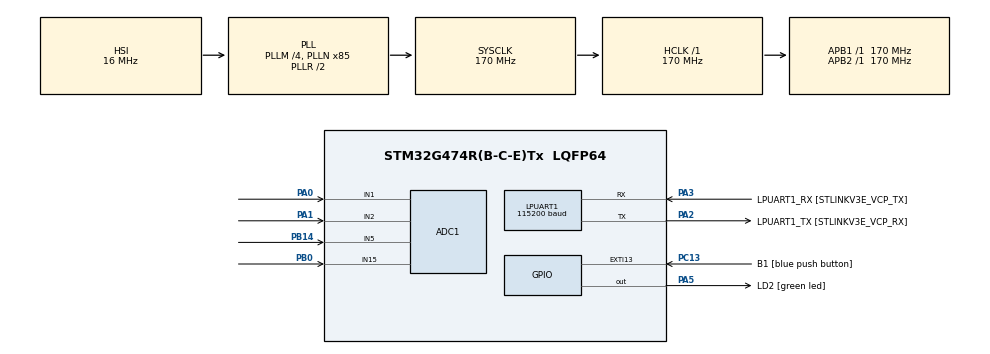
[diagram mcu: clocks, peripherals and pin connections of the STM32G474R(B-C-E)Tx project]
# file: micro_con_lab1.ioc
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ADC1.Channel-0\#ChannelRegularConversion=ADC_CHANNEL_1
ADC1.Channel-1\#ChannelRegularConversion=ADC_CHANNEL_2
ADC1.Channel-2\#ChannelRegularConversion=ADC_CHANNEL_15
ADC1.Channel-3\#ChannelRegularConversion=ADC_CHANNEL_5
ADC1.ContinuousConvMode=ENABLE
ADC1.DMAContinuousRequests=ENABLE
ADC1.NbrOfConversion=4
ADC1.NbrOfConversionFlag=1
ADC1.OffsetNumber-0\#ChannelRegularConversion=ADC_OFFSET_NONE
ADC1.OffsetNumber-1\#ChannelRegularConversion=ADC_OFFSET_NONE
ADC1.OffsetNumber-2\#ChannelRegularConversion=ADC_OFFSET_NONE
ADC1.OffsetNumber-3\#ChannelRegularConversion=ADC_OFFSET_NONE
ADC1.Rank-0\#ChannelRegularConversion=1
ADC1.Rank-1\#ChannelRegularConversion=2
ADC1.Rank-2\#ChannelRegularConversion=3
ADC1.Rank-3\#ChannelRegularConversion=4
ADC1.SamplingTime-0\#ChannelRegularConversion=ADC_SAMPLETIME_640CYCLES_5
ADC1.SamplingTime-1\#ChannelRegularConversion=ADC_SAMPLETIME_640CYCLES_5
ADC1.SamplingTime-2\#ChannelRegularConversion=ADC_SAMPLETIME_640CYCLES_5
ADC1.SamplingTime-3\#ChannelRegularConversion=ADC_SAMPLETIME_640CYCLES_5
ADC1.master=1
Dma.ADC1.0.Direction=DMA_PERIPH_TO_MEMORY
Dma.ADC1.0.EventEnable=DISABLE
Dma.ADC1.0.Instance=DMA1_Channel1
Dma.ADC1.0.MemDataAlignment=DMA_MDATAALIGN_HALFWORD
Dma.ADC1.0.MemInc=DMA_MINC_ENABLE
Dma.ADC1.0.Mode=DMA_CIRCULAR
Dma.ADC1.0.PeriphDataAlignment=DMA_PDATAALIGN_HALFWORD
Dma.ADC1.0.PeriphInc=DMA_PINC_DISABLE
Dma.ADC1.0.Polarity=HAL_DMAMUX_REQ_GEN_RISING
Dma.ADC1.0.Priority=DMA_PRIORITY_LOW
Dma.ADC1.0.RequestNumber=1
Dma.ADC1.0.SignalID=NONE
Dma.ADC1.0.SyncEnable=DISABLE
Dma.ADC1.0.SyncPolarity=HAL_DMAMUX_SYNC_NO_EVENT
Dma.ADC1.0.SyncRequestNumber=1
Dma.ADC1.0.SyncSignalID=NONE
Dma.Request0=ADC1
LPUART1.BaudRate=115200
LPUART1.WordLength=UART_WORDLENGTH_8B
Mcu.Family=STM32G4
Mcu.Name=STM32G474R(B-C-E)Tx
Mcu.Package=LQFP64
NVIC.ADC1_2_IRQn=true\:0\:0\:false\:false\:true\:true\:true\:true
NVIC.DMA1_Channel1_IRQn=true\:0\:0\:false\:false\:true\:false\:true\:true
NVIC.EXTI15_10_IRQn=true\:0\:0\:false\:false\:true\:true\:true\:true
NVIC.PriorityGroup=NVIC_PRIORITYGROUP_4
NVIC.TIM3_IRQn=true\:0\:0\:false\:false\:true\:true\:true\:true
PA0.Mode=IN1-Single-Ended
PA0.Signal=ADC1_IN1
PA1.Mode=IN2-Single-Ended
PA1.Signal=ADC1_IN2
PA13.GPIO_Label=T_SWDIO
PA13.Mode=Serial_Wire
PA13.Signal=SYS_JTMS-SWDIO
PA14.GPIO_Label=T_SWCLK
PA14.Mode=Serial_Wire
PA14.Signal=SYS_JTCK-SWCLK
PA2.GPIO_Label=LPUART1_TX [STLINKV3E_VCP_RX]
PA2.Mode=Asynchronous
PA2.Signal=LPUART1_TX
PA3.GPIO_Label=LPUART1_RX [STLINKV3E_VCP_TX]
PA3.Mode=Asynchronous
PA3.Signal=LPUART1_RX
PA5.GPIO_Label=LD2 [green led]
PA5.Signal=GPIO_Output
PB0.Mode=IN15-Single-Ended
PB0.Signal=ADC1_IN15
PB14.Mode=IN5-Single-Ended
PB14.Signal=ADC1_IN5
PB3.GPIO_Label=T_SWO
PB3.Signal=SYS_JTDO-SWO
PB4.Signal=S_TIM3_CH1
PC13.GPIO_Label=B1 [blue push button]
PC13.Signal=GPXTI13
PC14-OSC32_IN.Mode=LSE-External-Oscillator
PC14-OSC32_IN.Signal=RCC_OSC32_IN
PC15-OSC32_OUT.Mode=LSE-External-Oscillator
PC15-OSC32_OUT.Signal=RCC_OSC32_OUT
PF0-OSC_IN.Mode=HSE-External-Oscillator
PF0-OSC_IN.Signal=RCC_OSC_IN
PF1-OSC_OUT.Mode=HSE-External-Oscillator
PF1-OSC_OUT.Signal=RCC_OSC_OUT
ProjectManager.HeapSize=0x200
ProjectManager.StackSize=0x400
ProjectManager.TargetToolchain=STM32CubeIDE
RCC.ADC12Freq_Value=170000000
RCC.ADC345Freq_Value=170000000
RCC.AHBFreq_Value=170000000
RCC.APB1Freq_Value=170000000
RCC.APB1TimFreq_Value=170000000
RCC.APB2Freq_Value=170000000
RCC.APB2TimFreq_Value=170000000
RCC.CortexFreq_Value=170000000
RCC.EXTERNAL_CLOCK_VALUE=12288000
RCC.HCLKFreq_Value=170000000
RCC.HSE_VALUE=24000000
RCC.HSI48_VALUE=48000000
RCC.HSI_VALUE=16000000
RCC.PLLM=RCC_PLLM_DIV4
RCC.PLLN=85
RCC.RTCClockSelection=RCC_RTCCLKSOURCE_LSE
RCC.SYSCLKFreq_VALUE=170000000
RCC.SYSCLKSource=RCC_SYSCLKSOURCE_PLLCLK
RCC.USBFreq_Value=170000000
RCC.VCOOutputFreq_Value=340000000
SH.S_TIM3_CH1.0=TIM3_CH1
TIM3.Channel-PWM\ Generation1\ No\ Output=TIM_CHANNEL_1
TIM3.PeriodNoDither=19999
TIM3.Prescaler=169
TIM3.PulseNoDither_1=2000
VP_SYS_VS_DBSignals.Mode=DisableDeadBatterySignals
VP_TIM3_VS_ClockSourceINT.Mode=Internal
VP_TIM3_VS_no_output1.Mode=PWM Generation1 No Output
board=NUCLEO-G474RE

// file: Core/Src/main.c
/* USER CODE BEGIN Header */
/**
  ******************************************************************************
  * @file           : main.c
  * @brief          : Main program body
  ******************************************************************************
  * @attention
  *
  * Copyright (c) 2024 STMicroelectronics.
  * All rights reserved.
  *
  * This software is licensed under terms that can be found in the LICENSE file
  * in the root directory of this software component.
  * If no LICENSE file comes with this software, it is provided AS-IS.
  *
  ******************************************************************************
  */
/* USER CODE END Header */
#include "main.h"

ADC_HandleTypeDef hadc1;
DMA_HandleTypeDef hdma_adc1;

UART_HandleTypeDef hlpuart1;

TIM_HandleTypeDef htim3;

/* USER CODE BEGIN PV */
int x = 0;
uint16_t ADC_RawRead[40]={0};
uint8_t state = 0;
uint16_t servoPulse = 0;
float pimpod1Percentage;

/* USER CODE END PV */

void SystemClock_Config(void);
static void MX_GPIO_Init(void);
static void MX_DMA_Init(void);
static void MX_LPUART1_UART_Init(void);
static void MX_ADC1_Init(void);
static void MX_TIM3_Init(void);
/* USER CODE BEGIN PFP */
void ADC_Read_blocking();
/* USER CODE END PFP */

int main(void)
{

  /* MCU Configuration--------------------------------------------------------*/

  /* Reset of all peripherals, Initializes the Flash interface and the Systick. */
  HAL_Init();

  /* Configure the system clock */
  SystemClock_Config();

  /* Initialize all configured peripherals */
  MX_GPIO_Init();
  MX_DMA_Init();
  MX_LPUART1_UART_Init();
  MX_ADC1_Init();
  MX_TIM3_Init();
  /* USER CODE BEGIN 2 */
  HAL_TIM_Base_Start(&htim3);
  HAL_TIM_PWM_Start(&htim3, TIM_CHANNEL_1);

  HAL_ADCEx_Calibration_Start(&hadc1, ADC_SINGLE_ENDED);
  HAL_ADC_Start_DMA(&hadc1, ADC_RawRead, 40);
  /* USER CODE END 2 */

  /* Infinite loop */
  while (1)
  {

    /* USER CODE BEGIN 3 */

	  // state management with pimpod 1
	  pimpod1Percentage = (float) ADC_RawRead[0] / 4095 * 100;
	  uint16_t pimpod2 = ADC_RawRead[1];
	  uint16_t pimpod3 = ADC_RawRead[2];

	  if (pimpod1Percentage > 75) {
		  state = (int) 4;
	  } else if (pimpod1Percentage > 50) {
		  state = (int) 3;
	  } else if (pimpod1Percentage > 25) {
		  state = (int) 2;
	  } else {
		  state = (int) 1;
	  }

//	  switch (state) {
//	  case 1: servoPulse = 500;
//	  case 2: servoPulse = pimpod2 / 4095 * 2000 + 500;
//	  case 3: servoPulse = pimpod3 / 4095 * 2000 + 500;
//	  case 4: servoPulse = 2500;
//	  }
	  if (state == 1) {
		  servoPulse = 500;
	  } else if (state == 2) {
		  servoPulse = (float) pimpod2 / 4095 * 2000 + 500;
	  } else if (state == 3) {
		  servoPulse = (float) pimpod3 / 4095 * 2000 + 500;
	  } else if (state == 4) {
		  servoPulse = 2500;
	  }

	  __HAL_TIM_SET_COMPARE(&htim3, TIM_CHANNEL_1, servoPulse);

  }
  /* USER CODE END 3 */
}

void SystemClock_Config(void)
{
  RCC_OscInitTypeDef RCC_OscInitStruct = {0};
  RCC_ClkInitTypeDef RCC_ClkInitStruct = {0};

  /** Configure the main internal regulator output voltage
  */
  HAL_PWREx_ControlVoltageScaling(PWR_REGULATOR_VOLTAGE_SCALE1_BOOST);

  /** Initializes the RCC Oscillators according to the specified parameters
  * in the RCC_OscInitTypeDef structure.
  */
  RCC_OscInitStruct.OscillatorType = RCC_OSCILLATORTYPE_HSI;
  RCC_OscInitStruct.HSIState = RCC_HSI_ON;
  RCC_OscInitStruct.HSICalibrationValue = RCC_HSICALIBRATION_DEFAULT;
  RCC_OscInitStruct.PLL.PLLState = RCC_PLL_ON;
  RCC_OscInitStruct.PLL.PLLSource = RCC_PLLSOURCE_HSI;
  RCC_OscInitStruct.PLL.PLLM = RCC_PLLM_DIV4;
  RCC_OscInitStruct.PLL.PLLN = 85;
  RCC_OscInitStruct.PLL.PLLP = RCC_PLLP_DIV2;
  RCC_OscInitStruct.PLL.PLLQ = RCC_PLLQ_DIV2;
  RCC_OscInitStruct.PLL.PLLR = RCC_PLLR_DIV2;
  if (HAL_RCC_OscConfig(&RCC_OscInitStruct) != HAL_OK)
  {
    Error_Handler();
  }

  /** Initializes the CPU, AHB and APB buses clocks
  */
  RCC_ClkInitStruct.ClockType = RCC_CLOCKTYPE_HCLK|RCC_CLOCKTYPE_SYSCLK
                              |RCC_CLOCKTYPE_PCLK1|RCC_CLOCKTYPE_PCLK2;
  RCC_ClkInitStruct.SYSCLKSource = RCC_SYSCLKSOURCE_PLLCLK;
  RCC_ClkInitStruct.AHBCLKDivider = RCC_SYSCLK_DIV1;
  RCC_ClkInitStruct.APB1CLKDivider = RCC_HCLK_DIV1;
  RCC_ClkInitStruct.APB2CLKDivider = RCC_HCLK_DIV1;

  if (HAL_RCC_ClockConfig(&RCC_ClkInitStruct, FLASH_LATENCY_4) != HAL_OK)
  {
    Error_Handler();
  }
}

static void MX_ADC1_Init(void)
{

  ADC_MultiModeTypeDef multimode = {0};
  ADC_ChannelConfTypeDef sConfig = {0};

  /** Common config
  */
  hadc1.Instance = ADC1;
  hadc1.Init.ClockPrescaler = ADC_CLOCK_SYNC_PCLK_DIV4;
  hadc1.Init.Resolution = ADC_RESOLUTION_12B;
  hadc1.Init.DataAlign = ADC_DATAALIGN_RIGHT;
  hadc1.Init.GainCompensation = 0;
  hadc1.Init.ScanConvMode = ADC_SCAN_ENABLE;
  hadc1.Init.EOCSelection = ADC_EOC_SINGLE_CONV;
  hadc1.Init.LowPowerAutoWait = DISABLE;
  hadc1.Init.ContinuousConvMode = ENABLE;
  hadc1.Init.NbrOfConversion = 4;
  hadc1.Init.DiscontinuousConvMode = DISABLE;
  hadc1.Init.ExternalTrigConv = ADC_SOFTWARE_START;
  hadc1.Init.ExternalTrigConvEdge = ADC_EXTERNALTRIGCONVEDGE_NONE;
  hadc1.Init.DMAContinuousRequests = ENABLE;
  hadc1.Init.Overrun = ADC_OVR_DATA_PRESERVED;
  hadc1.Init.OversamplingMode = DISABLE;
  if (HAL_ADC_Init(&hadc1) != HAL_OK)
  {
    Error_Handler();
  }

  /** Configure the ADC multi-mode
  */
  multimode.Mode = ADC_MODE_INDEPENDENT;
  if (HAL_ADCEx_MultiModeConfigChannel(&hadc1, &multimode) != HAL_OK)
  {
    Error_Handler();
  }

  /** Configure Regular Channel
  */
  sConfig.Channel = ADC_CHANNEL_1;
  sConfig.Rank = ADC_REGULAR_RANK_1;
  sConfig.SamplingTime = ADC_SAMPLETIME_640CYCLES_5;
  sConfig.SingleDiff = ADC_SINGLE_ENDED;
  sConfig.OffsetNumber = ADC_OFFSET_NONE;
  sConfig.Offset = 0;
  if (HAL_ADC_ConfigChannel(&hadc1, &sConfig) != HAL_OK)
  {
    Error_Handler();
  }

  /** Configure Regular Channel
  */
  sConfig.Channel = ADC_CHANNEL_2;
  sConfig.Rank = ADC_REGULAR_RANK_2;
  if (HAL_ADC_ConfigChannel(&hadc1, &sConfig) != HAL_OK)
  {
    Error_Handler();
  }

  /** Configure Regular Channel
  */
  sConfig.Channel = ADC_CHANNEL_15;
  sConfig.Rank = ADC_REGULAR_RANK_3;
  if (HAL_ADC_ConfigChannel(&hadc1, &sConfig) != HAL_OK)
  {
    Error_Handler();
  }

  /** Configure Regular Channel
  */
  sConfig.Channel = ADC_CHANNEL_5;
  sConfig.Rank = ADC_REGULAR_RANK_4;
  if (HAL_ADC_ConfigChannel(&hadc1, &sConfig) != HAL_OK)
  {
    Error_Handler();
  }

}

static void MX_LPUART1_UART_Init(void)
{

  hlpuart1.Instance = LPUART1;
  hlpuart1.Init.BaudRate = 115200;
  hlpuart1.Init.WordLength = UART_WORDLENGTH_8B;
  hlpuart1.Init.StopBits = UART_STOPBITS_1;
  hlpuart1.Init.Parity = UART_PARITY_NONE;
  hlpuart1.Init.Mode = UART_MODE_TX_RX;
  hlpuart1.Init.HwFlowCtl = UART_HWCONTROL_NONE;
  hlpuart1.Init.OneBitSampling = UART_ONE_BIT_SAMPLE_DISABLE;
  hlpuart1.Init.ClockPrescaler = UART_PRESCALER_DIV1;
  hlpuart1.AdvancedInit.AdvFeatureInit = UART_ADVFEATURE_NO_INIT;
  if (HAL_UART_Init(&hlpuart1) != HAL_OK)
  {
    Error_Handler();
  }
  if (HAL_UARTEx_SetTxFifoThreshold(&hlpuart1, UART_TXFIFO_THRESHOLD_1_8) != HAL_OK)
  {
    Error_Handler();
  }
  if (HAL_UARTEx_SetRxFifoThreshold(&hlpuart1, UART_RXFIFO_THRESHOLD_1_8) != HAL_OK)
  {
    Error_Handler();
  }
  if (HAL_UARTEx_DisableFifoMode(&hlpuart1) != HAL_OK)
  {
    Error_Handler();
  }

}

static void MX_TIM3_Init(void)
{

  TIM_ClockConfigTypeDef sClockSourceConfig = {0};
  TIM_MasterConfigTypeDef sMasterConfig = {0};
  TIM_OC_InitTypeDef sConfigOC = {0};

  htim3.Instance = TIM3;
  htim3.Init.Prescaler = 169;
  htim3.Init.CounterMode = TIM_COUNTERMODE_UP;
  htim3.Init.Period = 19999;
  htim3.Init.ClockDivision = TIM_CLOCKDIVISION_DIV1;
  htim3.Init.AutoReloadPreload = TIM_AUTORELOAD_PRELOAD_DISABLE;
  if (HAL_TIM_Base_Init(&htim3) != HAL_OK)
  {
    Error_Handler();
  }
  sClockSourceConfig.ClockSource = TIM_CLOCKSOURCE_INTERNAL;
  if (HAL_TIM_ConfigClockSource(&htim3, &sClockSourceConfig) != HAL_OK)
  {
    Error_Handler();
  }
  if (HAL_TIM_PWM_Init(&htim3) != HAL_OK)
  {
    Error_Handler();
  }
  sMasterConfig.MasterOutputTrigger = TIM_TRGO_RESET;
  sMasterConfig.MasterSlaveMode = TIM_MASTERSLAVEMODE_DISABLE;
  if (HAL_TIMEx_MasterConfigSynchronization(&htim3, &sMasterConfig) != HAL_OK)
  {
    Error_Handler();
  }
  sConfigOC.OCMode = TIM_OCMODE_PWM1;
  sConfigOC.Pulse = 2000;
  sConfigOC.OCPolarity = TIM_OCPOLARITY_HIGH;
  sConfigOC.OCFastMode = TIM_OCFAST_DISABLE;
  if (HAL_TIM_PWM_ConfigChannel(&htim3, &sConfigOC, TIM_CHANNEL_1) != HAL_OK)
  {
    Error_Handler();
  }

}

static void MX_DMA_Init(void)
{

  /* DMA controller clock enable */
  __HAL_RCC_DMAMUX1_CLK_ENABLE();
  __HAL_RCC_DMA1_CLK_ENABLE();

  /* DMA interrupt init */
  /* DMA1_Channel1_IRQn interrupt configuration */
  HAL_NVIC_SetPriority(DMA1_Channel1_IRQn, 0, 0);
  HAL_NVIC_EnableIRQ(DMA1_Channel1_IRQn);

}

static void MX_GPIO_Init(void)
{
  GPIO_InitTypeDef GPIO_InitStruct = {0};

  /* GPIO Ports Clock Enable */
  __HAL_RCC_GPIOC_CLK_ENABLE();
  __HAL_RCC_GPIOF_CLK_ENABLE();
  __HAL_RCC_GPIOA_CLK_ENABLE();
  __HAL_RCC_GPIOB_CLK_ENABLE();

  /*Configure GPIO pin Output Level */
  HAL_GPIO_WritePin(LD2_GPIO_Port, LD2_Pin, GPIO_PIN_RESET);

  /*Configure GPIO pin : B1_Pin */
  GPIO_InitStruct.Pin = B1_Pin;
  GPIO_InitStruct.Mode = GPIO_MODE_IT_RISING;
  GPIO_InitStruct.Pull = GPIO_NOPULL;
  HAL_GPIO_Init(B1_GPIO_Port, &GPIO_InitStruct);

  /*Configure GPIO pin : LD2_Pin */
  GPIO_InitStruct.Pin = LD2_Pin;
  GPIO_InitStruct.Mode = GPIO_MODE_OUTPUT_PP;
  GPIO_InitStruct.Pull = GPIO_NOPULL;
  GPIO_InitStruct.Speed = GPIO_SPEED_FREQ_LOW;
  HAL_GPIO_Init(LD2_GPIO_Port, &GPIO_InitStruct);

  /* EXTI interrupt init*/
  HAL_NVIC_SetPriority(EXTI15_10_IRQn, 0, 0);
  HAL_NVIC_EnableIRQ(EXTI15_10_IRQn);

}

void Error_Handler(void)
{
  __disable_irq();
  while (1)
  {
  }
}
